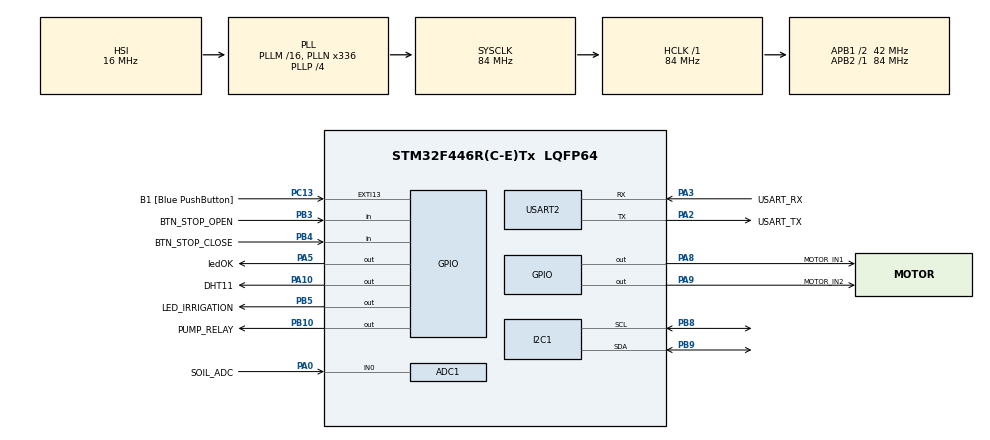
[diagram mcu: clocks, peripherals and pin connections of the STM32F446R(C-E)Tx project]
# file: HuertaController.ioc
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ADC1.Channel-0\#ChannelRegularConversion=ADC_CHANNEL_0
ADC1.NbrOfConversionFlag=1
ADC1.Rank-0\#ChannelRegularConversion=1
ADC1.SamplingTime-0\#ChannelRegularConversion=ADC_SAMPLETIME_3CYCLES
ADC1.master=1
Mcu.Family=STM32F4
Mcu.Name=STM32F446R(C-E)Tx
Mcu.Package=LQFP64
NVIC.PriorityGroup=NVIC_PRIORITYGROUP_0
NVIC.TIM2_IRQn=true\:0\:0\:false\:false\:true\:true\:true\:true
PA0-WKUP.GPIO_Label=SOIL_ADC
PA0-WKUP.Signal=ADCx_IN0
PA10.GPIO_Label=DHT11
PA10.Signal=GPIO_Output
PA13.GPIO_Label=TMS
PA13.Mode=Serial_Wire
PA13.Signal=SYS_JTMS-SWDIO
PA14.GPIO_Label=TCK
PA14.Mode=Serial_Wire
PA14.Signal=SYS_JTCK-SWCLK
PA2.GPIO_Label=USART_TX
PA2.Mode=Asynchronous
PA2.Signal=USART2_TX
PA3.GPIO_Label=USART_RX
PA3.Mode=Asynchronous
PA3.Signal=USART2_RX
PA5.GPIO_Label=ledOK
PA5.Signal=GPIO_Output
PA8.GPIO_Label=MOTOR_IN1
PA8.Signal=GPIO_Output
PA9.GPIO_Label=MOTOR_IN2
PA9.Signal=GPIO_Output
PB10.GPIO_Label=PUMP_RELAY
PB10.PinState=GPIO_PIN_SET
PB10.Signal=GPIO_Output
PB3.GPIO_Label=BTN_STOP_OPEN
PB3.GPIO_PuPd=GPIO_PULLUP
PB3.Signal=GPIO_Input
PB4.GPIO_Label=BTN_STOP_CLOSE
PB4.GPIO_PuPd=GPIO_PULLUP
PB4.Signal=GPIO_Input
PB5.GPIO_Label=LED_IRRIGATION
PB5.Signal=GPIO_Output
PB8.Mode=I2C
PB8.Signal=I2C1_SCL
PB9.Mode=I2C
PB9.Signal=I2C1_SDA
PC13.GPIO_Label=B1 [Blue PushButton]
PC13.GPIO_ModeDefaultEXTI=GPIO_MODE_IT_FALLING
PC13.Signal=GPXTI13
PC14-OSC32_IN.Mode=LSE-External-Oscillator
PC14-OSC32_IN.Signal=RCC_OSC32_IN
PC15-OSC32_OUT.Mode=LSE-External-Oscillator
PC15-OSC32_OUT.Signal=RCC_OSC32_OUT
PH0-OSC_IN.Mode=HSE-External-Oscillator
PH0-OSC_IN.Signal=RCC_OSC_IN
PH1-OSC_OUT.Mode=HSE-External-Oscillator
PH1-OSC_OUT.Signal=RCC_OSC_OUT
ProjectManager.HeapSize=0x200
ProjectManager.StackSize=0x400
ProjectManager.TargetToolchain=STM32CubeIDE
RCC.48MHZClocksFreq_Value=84000000
RCC.AHBFreq_Value=84000000
RCC.APB1CLKDivider=RCC_HCLK_DIV2
RCC.APB1Freq_Value=42000000
RCC.APB1TimFreq_Value=84000000
RCC.APB2Freq_Value=84000000
RCC.APB2TimFreq_Value=84000000
RCC.CortexFreq_Value=84000000
RCC.FLatency-AdvancedSettings=FLASH_LATENCY_2
RCC.HCLKFreq_Value=84000000
RCC.HSE_VALUE=8000000
RCC.HSI_VALUE=16000000
RCC.PLLN=336
RCC.PLLP=RCC_PLLP_DIV4
RCC.SYSCLKFreq_VALUE=84000000
RCC.SYSCLKSource=RCC_SYSCLKSOURCE_PLLCLK
RCC.USBFreq_Value=168000000
RCC.VCOOutputFreq_Value=336000000
SH.ADCx_IN0.0=ADC1_IN0,IN0
TIM2.Period=9
TIM2.Prescaler=8399
TIM3.Prescaler=83
USART2.VirtualMode=VM_ASYNC
VP_TIM2_VS_ClockSourceINT.Mode=Internal
VP_TIM3_VS_ClockSourceINT.Mode=Internal
board=NUCLEO-F446RE

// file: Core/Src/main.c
/* USER CODE BEGIN Header */
/**
  ******************************************************************************
  * @file           : main.c
  * @brief          : Main program body
  ******************************************************************************
  * @attention
  *
  * Copyright (c) 2026 STMicroelectronics.
  * All rights reserved.
  *
  * This software is licensed under terms that can be found in the LICENSE file
  * in the root directory of this software component.
  * If no LICENSE file comes with this software, it is provided AS-IS.
  *
  ******************************************************************************
  */
/* USER CODE END Header */
#include "main.h"
#include "adc.h"
#include "i2c.h"
#include "tim.h"
#include "usart.h"
#include "gpio.h"

/* USER CODE BEGIN Includes */
#include <stdio.h>
#include <string.h>

#include "lcd_i2c.h"
#include "dht11.h"
#include "roof.h"
#include "pump.h"
/* USER CODE END Includes */

/* USER CODE BEGIN PD */
#define SOIL_DRY_ADC   4066U
#define SOIL_WET_ADC   2332U
/* USER CODE END PD */

/* USER CODE BEGIN PV */

uint32_t adcValue = 0;
uint32_t soilPercent = 0;
char line[32];

DHT11_Data dhtData;
uint8_t dhtOk = 0;

uint32_t lastDhtRead = 0;
uint32_t lastSoilRead = 0;
uint32_t lastLcdUpdate = 0;
uint32_t lastIrrigationCheck = 0;

const uint32_t DHT_PERIOD_MS = 2000U;
const uint32_t SOIL_PERIOD_MS = 2000U;
const uint32_t LCD_PERIOD_MS = 1000U;
const uint32_t IRRIGATION_PERIOD_MS = 5000U;

uint8_t irrigationActive = 0;

uint32_t irrigationStartTime = 0;
const uint32_t IRRIGATION_DURATION_MS = 10000U;

uint32_t lastTelemetrySend = 0;
const uint32_t TELEMETRY_PERIOD_MS = 2000U;

char telemetryLine[128];
/* USER CODE END PV */

void SystemClock_Config(void);
/* USER CODE BEGIN PFP */
static void App_ReadDht11(void);
static void App_ReadSoilSensor(void);
static void App_UpdateIrrigation(void);
static void App_UpdateOutputs(void);
static void App_UpdateLcd(void);

static void App_UpdateRoof(void);

static void App_SendTelemetry(void);

static const char *RoofStateToString(RoofState);
/* USER CODE END PFP */

int main(void)
{

  /* MCU Configuration--------------------------------------------------------*/

  /* Reset of all peripherals, Initializes the Flash interface and the Systick. */
  HAL_Init();

  /* Configure the system clock */
  SystemClock_Config();

  /* Initialize all configured peripherals */
  MX_GPIO_Init();
  MX_USART2_UART_Init();
  MX_ADC1_Init();
  MX_TIM2_Init();
  MX_I2C1_Init();
  MX_TIM3_Init();
  /* USER CODE BEGIN 2 */
  HAL_TIM_Base_Start(&htim3);

  LCD_Init(&hi2c1);
  LCD_Clear();

  Roof_Init();

  Pump_Init();

  LCD_SetCursor(0, 0);
  LCD_Print("Huerta OK");
  HAL_Delay(2000);
  LCD_Clear();

  lastDhtRead = HAL_GetTick() - DHT_PERIOD_MS;
  lastSoilRead = HAL_GetTick() - SOIL_PERIOD_MS;
  lastLcdUpdate = HAL_GetTick() - LCD_PERIOD_MS;
  lastIrrigationCheck = HAL_GetTick() - IRRIGATION_PERIOD_MS;
  /* USER CODE END 2 */

  /* Infinite loop */
  /* USER CODE BEGIN WHILE */
  while (1)
  {
      App_ReadDht11();
      App_ReadSoilSensor();
      App_UpdateIrrigation();
      App_UpdateRoof();
      App_UpdateOutputs();
      App_UpdateLcd();
      App_SendTelemetry();

    /* USER CODE END WHILE */

  }
}

void SystemClock_Config(void)
{
  RCC_OscInitTypeDef RCC_OscInitStruct = {0};
  RCC_ClkInitTypeDef RCC_ClkInitStruct = {0};

  /** Configure the main internal regulator output voltage
  */
  __HAL_RCC_PWR_CLK_ENABLE();
  __HAL_PWR_VOLTAGESCALING_CONFIG(PWR_REGULATOR_VOLTAGE_SCALE3);

  /** Initializes the RCC Oscillators according to the specified parameters
  * in the RCC_OscInitTypeDef structure.
  */
  RCC_OscInitStruct.OscillatorType = RCC_OSCILLATORTYPE_HSI;
  RCC_OscInitStruct.HSIState = RCC_HSI_ON;
  RCC_OscInitStruct.HSICalibrationValue = RCC_HSICALIBRATION_DEFAULT;
  RCC_OscInitStruct.PLL.PLLState = RCC_PLL_ON;
  RCC_OscInitStruct.PLL.PLLSource = RCC_PLLSOURCE_HSI;
  RCC_OscInitStruct.PLL.PLLM = 16;
  RCC_OscInitStruct.PLL.PLLN = 336;
  RCC_OscInitStruct.PLL.PLLP = RCC_PLLP_DIV4;
  RCC_OscInitStruct.PLL.PLLQ = 2;
  RCC_OscInitStruct.PLL.PLLR = 2;
  if (HAL_RCC_OscConfig(&RCC_OscInitStruct) != HAL_OK)
  {
    Error_Handler();
  }

  /** Initializes the CPU, AHB and APB buses clocks
  */
  RCC_ClkInitStruct.ClockType = RCC_CLOCKTYPE_HCLK|RCC_CLOCKTYPE_SYSCLK
                              |RCC_CLOCKTYPE_PCLK1|RCC_CLOCKTYPE_PCLK2;
  RCC_ClkInitStruct.SYSCLKSource = RCC_SYSCLKSOURCE_PLLCLK;
  RCC_ClkInitStruct.AHBCLKDivider = RCC_SYSCLK_DIV1;
  RCC_ClkInitStruct.APB1CLKDivider = RCC_HCLK_DIV2;
  RCC_ClkInitStruct.APB2CLKDivider = RCC_HCLK_DIV1;

  if (HAL_RCC_ClockConfig(&RCC_ClkInitStruct, FLASH_LATENCY_2) != HAL_OK)
  {
    Error_Handler();
  }
}

/* USER CODE BEGIN 4 */
static void App_ReadDht11(void)
{
    uint32_t now = HAL_GetTick();

    if ((now - lastDhtRead) >= DHT_PERIOD_MS)
    {
        lastDhtRead = now;

        dhtOk = DHT11_Read(&dhtData);
    }
}

static void App_ReadSoilSensor(void)
{
    uint32_t now = HAL_GetTick();

    if ((now - lastSoilRead) >= SOIL_PERIOD_MS)
    {
        uint32_t sum = 0U;

        lastSoilRead = now;

        for (uint8_t i = 0U; i < 8U; i++)
        {
            HAL_ADC_Start(&hadc1);
            HAL_ADC_PollForConversion(&hadc1, 100U);

            sum += HAL_ADC_GetValue(&hadc1);
        }

        adcValue = sum / 8U;

        if (adcValue >= SOIL_DRY_ADC)
        {
            soilPercent = 0U;
        }
        else if (adcValue <= SOIL_WET_ADC)
        {
            soilPercent = 100U;
        }
        else
        {
            soilPercent =
                ((SOIL_DRY_ADC - adcValue) * 100U) /
                (SOIL_DRY_ADC - SOIL_WET_ADC);
        }
    }
}

static void App_UpdateIrrigation(void)
{
    uint32_t now = HAL_GetTick();

    if (irrigationActive != 0U)
    {
        if ((now - irrigationStartTime) >= IRRIGATION_DURATION_MS)
        {
            irrigationActive = 0U;
        }

        return;
    }

    if ((now - lastIrrigationCheck) >= IRRIGATION_PERIOD_MS)
    {
        lastIrrigationCheck = now;

        if ((soilPercent < 50U) &&
            (dhtData.humidity < 60U) &&
            (dhtData.temperature > 5U) &&
            (dhtOk == 1U))
        {
            irrigationActive = 1U;
            irrigationStartTime = now;
        }
    }
}

static void App_UpdateOutputs(void)
{
    if (irrigationActive != 0U)
    {
        Pump_On();

        HAL_GPIO_WritePin(LED_IRRIGATION_GPIO_Port,
                          LED_IRRIGATION_Pin,
                          GPIO_PIN_SET);

        HAL_GPIO_WritePin(GPIOA,
                          GPIO_PIN_5,
                          GPIO_PIN_RESET);
    }
    else
    {
        Pump_Off();

        HAL_GPIO_WritePin(LED_IRRIGATION_GPIO_Port,
                          LED_IRRIGATION_Pin,
                          GPIO_PIN_RESET);

        HAL_GPIO_WritePin(GPIOA,
                          GPIO_PIN_5,
                          GPIO_PIN_SET);
    }
}

static void App_UpdateLcd(void)
{
    uint32_t now = HAL_GetTick();

    if ((now - lastLcdUpdate) >= LCD_PERIOD_MS)
    {
        lastLcdUpdate = now;

        LCD_SetCursor(0, 0);

        if (dhtOk == 1U)
        {
            snprintf(line, sizeof(line), "T:%2uC H:%2u%%     ",
                     dhtData.temperature,
                     dhtData.humidity);
        }
        else
        {
            snprintf(line, sizeof(line), "DHT ERR:%u       ", dhtOk);
        }

        LCD_Print(line);

        LCD_SetCursor(1, 0);

        if (irrigationActive != 0U)
        {
            snprintf(line, sizeof(line), "Riego ON S:%3lu%% ", soilPercent);

        }
        else
        {
            snprintf(line, sizeof(line), "Riego OFF S:%3lu%%", soilPercent);
        }

        LCD_Print(line);
    }
}

static void App_UpdateRoof(void)
{
    if (dhtOk != 1U)
    {
        return;
    }

    switch (Roof_GetState())
    {
        case ROOF_STOPPED:

            if (dhtData.temperature < 20U)
            {
                Roof_Close();
            }
            else if (dhtData.temperature > 25U)
            {
                Roof_Open();
            }

            break;

        case ROOF_OPENING:

            if (HAL_GPIO_ReadPin(BTN_STOP_OPEN_GPIO_Port,
                                 BTN_STOP_OPEN_Pin) == GPIO_PIN_RESET)
            {
                Roof_Stop();
            }

            break;

        case ROOF_CLOSING:

            if (HAL_GPIO_ReadPin(BTN_STOP_CLOSE_GPIO_Port,
                                 BTN_STOP_CLOSE_Pin) == GPIO_PIN_RESET)
            {
                Roof_Stop();
            }

            break;

        case ROOF_MANUAL_STOP:

            if ((dhtData.temperature >= 20U) &&
                (dhtData.temperature <= 25U))
            {
                Roof_ResetManualStop();
            }

            break;

        default:
            Roof_Stop();
            break;
    }
}

static void App_SendTelemetry(void)
{
    uint32_t now = HAL_GetTick();

    if ((now - lastTelemetrySend) >= TELEMETRY_PERIOD_MS)
    {
        lastTelemetrySend = now;

        snprintf(telemetryLine,
                 sizeof(telemetryLine),
                 "{\"temp\":%u,"
                 "\"hum\":%u,"
                 "\"soil\":%lu,"
                 "\"irrigation\":%u,"
                 "\"roof\":\"%s\"}\r\n",
                 dhtData.temperature,
                 dhtData.humidity,
                 soilPercent,
                 irrigationActive,
                 RoofStateToString(Roof_GetState()));

        HAL_UART_Transmit(&huart2,
                          (uint8_t *)telemetryLine,
                          strlen(telemetryLine),
                          100U);
    }
}

static const char *RoofStateToString(RoofState state)
{
    switch (state)
    {
        case ROOF_STOPPED:
            return "STOPPED";

        case ROOF_OPENING:
            return "OPENING";

        case ROOF_CLOSING:
            return "CLOSING";

        case ROOF_MANUAL_STOP:
            return "MANUAL_STOP";

        default:
            return "UNKNOWN";
    }
}
/* USER CODE END 4 */

void Error_Handler(void)
{
  __disable_irq();
  while (1)
  {
  }
}
